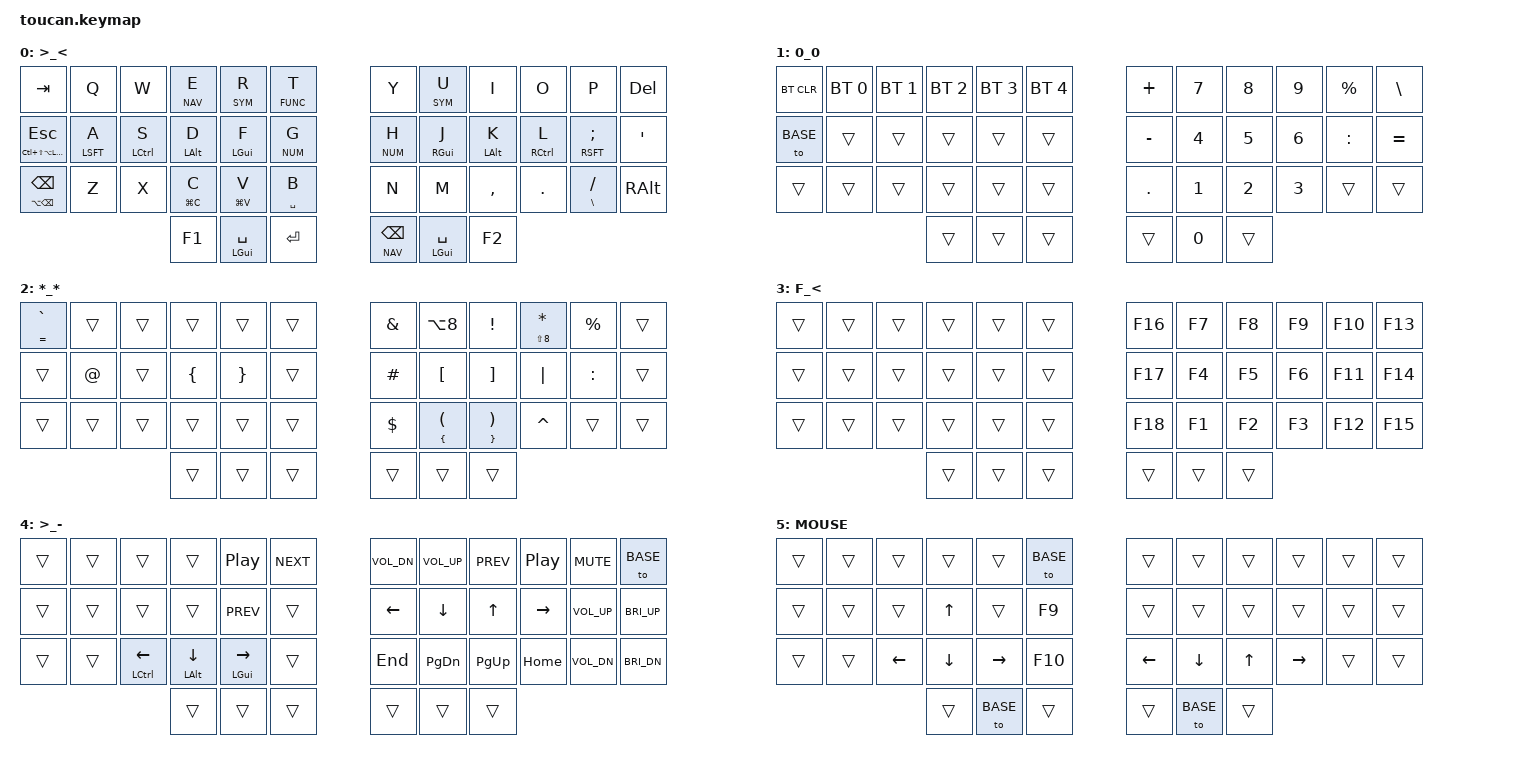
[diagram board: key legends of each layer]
#include <behaviors.dtsi>
#include <dt-bindings/zmk/keys.h>
#include <dt-bindings/zmk/bt.h>
#include <dt-bindings/zmk/outputs.h>

// Layer definitions matching Voyager
#define HYPER LS(LC(LA(LGUI)))
#define BASE 0
#define NUM  1
#define SYM  2
#define FUNC 3
#define NAV  4
#define MOUSE 5

/ {
    // Tap dance definitions (simplified from QMK version)
    behaviors {
        td_e: tap_dance_e {
            compatible = "zmk,behavior-tap-dance";
            #binding-cells = <0>;
            tapping-term-ms = <130>;
            bindings = <&kp E>, <&kp E>, <&mo NAV>;
        };

		hyper_esc: hyper_esc {
            compatible = "zmk,behavior-hold-tap";
            #binding-cells = <2>;
            flavor = "balanced";
            tapping-term-ms = <130>;
            bindings = <&kp>, <&kp>;
        };
        
        td_t: tap_dance_t {
            compatible = "zmk,behavior-tap-dance";
            #binding-cells = <0>;
            tapping-term-ms = <130>;
            bindings = <&kp T>, <&kp T>, <&mo FUNC>;
        };

        td_g: tap_dance_g {
            compatible = "zmk,behavior-tap-dance";
            #binding-cells = <0>;
            tapping-term-ms = <130>;
            bindings = <&kp G>, <&kp G>, <&mo NUM>;
        };

        td_del: tap_dance_del {
            compatible = "zmk,behavior-tap-dance";
            #binding-cells = <0>;
            tapping-term-ms = <130>;
            bindings = <&kp DEL>, <&kp LA(DEL)>, <&kp LG(DEL)>;
        };

        td_space: tap_dance_space {
            compatible = "zmk,behavior-tap-dance";
            #binding-cells = <0>;
            tapping-term-ms = <130>;
            bindings = <&kp SPACE>, <&kp SPACE>, <&to NAV>;
        };

        // Hold-tap behaviors for dual function keys
        ht_bspc_alt_bspc: hold_tap_bspc {
            compatible = "zmk,behavior-hold-tap";
            #binding-cells = <2>;
            tapping-term-ms = <130>;
            quick-tap-ms = <0>;
            flavor = "tap-preferred";
            bindings = <&kp>, <&kp>;
        };

        ht_c_copy: hold_tap_c_copy {
            compatible = "zmk,behavior-hold-tap";
            #binding-cells = <2>;
            tapping-term-ms = <130>;
            quick-tap-ms = <0>;
            flavor = "tap-preferred";
            bindings = <&kp>, <&kp>;
        };

        ht_v_paste: hold_tap_v_paste {
            compatible = "zmk,behavior-hold-tap";
            #binding-cells = <2>;
            tapping-term-ms = <130>;
            quick-tap-ms = <0>;
            flavor = "tap-preferred";
            bindings = <&kp>, <&kp>;
        };

        ht_b_space: hold_tap_b_space {
            compatible = "zmk,behavior-hold-tap";
            #binding-cells = <2>;
            tapping-term-ms = <130>;
            quick-tap-ms = <0>;
            flavor = "tap-preferred";
            bindings = <&kp>, <&kp>;
        };

        ht_h_num: hold_tap_h_num {
            compatible = "zmk,behavior-hold-tap";
            #binding-cells = <2>;
            tapping-term-ms = <130>;
            quick-tap-ms = <0>;
            flavor = "tap-preferred";
            bindings = <&to>, <&kp>;
        };

        ht_slash_bslh: hold_tap_slash {
            compatible = "zmk,behavior-hold-tap";
            #binding-cells = <2>;
            tapping-term-ms = <130>;
            quick-tap-ms = <0>;
            flavor = "tap-preferred";
            bindings = <&kp>, <&kp>;
        };

        // Balanced layer-tap for G key (mo + kp, balanced flavor)
        lt_bal: layer_tap_balanced {
            compatible = "zmk,behavior-hold-tap";
            #binding-cells = <2>;
            tapping-term-ms = <130>;
            quick-tap-ms = <175>;
            flavor = "balanced";
            bindings = <&mo>, <&kp>;
        };

        // Home row mods (matching Voyager)
        hml: homerow_mods_left {
            compatible = "zmk,behavior-hold-tap";
            #binding-cells = <2>;
            tapping-term-ms = <280>;
            quick-tap-ms = <175>;
            require-prior-idle-ms = <100>;
            flavor = "balanced";
            bindings = <&kp>, <&kp>;
            hold-trigger-key-positions = <6 7 8 9 10 11 18 19 20 21 22 23 30 31 32 33 34 35 39 40 41>;
            hold-trigger-on-release;
		};

        hmr: homerow_mods_right {
            compatible = "zmk,behavior-hold-tap";
            #binding-cells = <2>;
            tapping-term-ms = <280>;
            quick-tap-ms = <175>;
            require-prior-idle-ms = <100>;
            flavor = "balanced";
            bindings = <&kp>, <&kp>;
            hold-trigger-key-positions = <0 1 2 3 4 5 12 13 14 15 16 17 24 25 26 27 28 29 36 37 38>;
            hold-trigger-on-release;
		};

        tcsl: thumb_cmd_space_left {
            compatible = "zmk,behavior-hold-tap";
            #binding-cells = <2>;
            tapping-term-ms = <220>;
            quick-tap-ms = <100>;
            require-prior-idle-ms = <50>;
            flavor = "balanced";
            bindings = <&kp>, <&kp>;
        };

		tcsr: thumb_cmd_space_right {
            compatible = "zmk,behavior-hold-tap";
            #binding-cells = <2>;
            tapping-term-ms = <220>;
            quick-tap-ms = <175>;
            require-prior-idle-ms = <175>;
            flavor = "tap-preferred";
            bindings = <&kp>, <&kp>;
        };

	};

    // Combos (matching Voyager)
    combos {
        compatible = "zmk,combos";
        combo_launcher {
            timeout-ms = <50>;
            key-positions = <7 8 9>; // U I O
            bindings = <&kp LA(LG(SPACE))>;
        };
        combo_spotlight_left {
            timeout-ms = <50>;
            key-positions = <14 15 16>; // S D F
            bindings = <&kp LG(SPACE)>;
        };
        combo_spotlight_right {
            timeout-ms = <50>;
            key-positions = <19 20 21>; // J K L
            bindings = <&kp LG(SPACE)>;
        };
        combo_screenshot {
            timeout-ms = <25>;
            key-positions = <8 9>; // I O
            bindings = <&kp LG(LS(N4))>;
        };
        combo_f1 {
            timeout-ms = <25>;
            key-positions = <2 3>; // W E
            bindings = <&kp F1>;
        };
        combo_f2 {
            timeout-ms = <25>;
            key-positions = <3 4>; // E R
            bindings = <&kp F2>;
        };
    };

    // Macros for string sequences
    macros {
        macro_semicolon_1: macro_semicolon_1 {
            compatible = "zmk,behavior-macro";
            #binding-cells = <0>;
            bindings
                = <&macro_tap &kp SEMI>
                , <&macro_wait_time 100>
                , <&macro_tap &kp N1>
                , <&macro_wait_time 100>
                , <&macro_tap &kp SEMI>
                , <&macro_wait_time 100>
                , <&macro_tap &kp SPACE>
                ;
        };

        macro_semicolon_hs: macro_semicolon_hs {
            compatible = "zmk,behavior-macro";
            #binding-cells = <0>;
            bindings
                = <&macro_tap &kp SEMI>
                , <&macro_wait_time 100>
                , <&macro_tap &kp H>
                , <&macro_wait_time 100>
                , <&macro_tap &kp S>
                , <&macro_wait_time 100>
                , <&macro_tap &kp SEMI>
                , <&macro_wait_time 100>
                , <&macro_tap &kp SPACE>
                ;
        };
    };

    keymap {
        compatible = "zmk,keymap";

        // Layer 0: Base (QWERTY with home row mods)
        // TODO: L hyper key; r hyper key; figure out =, `, outer thumb keys

        base {
            display-name = ">_<";
            bindings = <
                &kp TAB                         &kp Q        &kp W        &lt NAV E           &lt SYM R            &lt FUNC T           &kp Y            &lt SYM U         &kp I        &kp O        &kp P                     &kp DEL
                &hyper_esc LC(LS(LA(LGUI))) ESC &hml LSFT A  &hml LCTL S  &hml LALT D         &hml LGUI F          &lt_bal NUM G        &ht_h_num NUM H  &hmr RGUI J       &hmr LALT K  &hmr RCTL L  &hmr RSFT SEMI            &kp APOS
                &ht_bspc_alt_bspc LA(BSPC) BSPC &kp Z        &kp X        &ht_c_copy LG(C) C  &ht_v_paste LG(V) V  &ht_b_space SPACE B  &kp N            &kp M             &kp COMMA    &kp DOT      &ht_slash_bslh BSLH FSLH  &kp RALT
                                                                          &kp F1              &tcsl LGUI SPACE     &kp ENTER            &lt NAV BSPC     &tcsr LGUI SPACE  &kp F2
            >;
        };

        // Layer 1: Numbers/Math (right side)
        numbers {
            display-name = "0_0";
            bindings = <
                &bt BT_CLR  &bt BT_SEL 0    &bt BT_SEL 1 &bt BT_SEL 2 &bt BT_SEL 3 &bt BT_SEL 4    &kp PLUS    &kp N7      &kp N8      &kp N9      &kp PRCNT   &kp BSLH
                &to BASE    &trans          &trans       &trans       &trans       &trans          &kp MINUS   &kp N4      &kp N5      &kp N6      &kp COLON   &kp EQUAL
                &trans      &trans          &trans       &trans       &trans       &trans          &kp DOT     &kp N1      &kp N2      &kp N3      &trans      &trans
                                                         &trans       &trans       &trans          &trans      &kp N0      &trans
            >;
        };

        // Layer 2: Symbols
        // TODO: clean up macros
        symbols {
            display-name = "*_*";
            bindings = <
                &mt EQUAL GRAVE &trans  &trans  &trans    &trans    &trans      &kp AMPS  &kp LA(N8)     &kp EXCL       &mt LS(8) STAR  &kp PRCNT  &trans
                &trans          &kp AT  &trans  &kp LBRC  &kp RBRC  &trans      &kp HASH  &kp LBKT       &kp RBKT       &kp PIPE        &kp COLON  &trans
                &trans          &trans  &trans  &trans    &trans    &trans      &kp DLLR  &mt LBRC LPAR  &mt RBRC RPAR  &kp CARET       &trans     &trans
                                                &trans    &trans    &trans      &trans    &trans         &trans
            >;
        };

        // Layer 3: Function Keys
        function {
            display-name = "F_<";
            bindings = <
                &trans      &trans      &trans      &trans      &trans      &trans          &kp F16     &kp F7      &kp F8      &kp F9      &kp F10     &kp F13
                &trans      &trans      &trans      &trans      &trans      &trans          &kp F17     &kp F4      &kp F5      &kp F6      &kp F11     &kp F14
                &trans      &trans      &trans      &trans      &trans      &trans          &kp F18     &kp F1      &kp F2      &kp F3      &kp F12     &kp F15
                                                    &trans      &trans      &trans          &trans      &trans      &trans
            >;
        };

        // Layer 4: Navigation/Media (skip RGB controls)
        // TODO media player keys; remove wheel keys from Voyager?; wasd arrows?
        navigation {
            display-name = ">_-";
            bindings = <
                &trans      &trans      &trans              &trans              &kp C_PP            &kp C_NEXT      &kp C_VOL_DN    &kp C_VOL_UP    &kp C_PREV      &kp C_PP        &kp C_MUTE      &to BASE
                &trans      &trans      &trans              &trans              &kp C_PREV          &trans          &kp LEFT        &kp DOWN        &kp UP          &kp RIGHT       &kp C_VOL_UP    &kp C_BRI_UP
                &trans      &trans      &hml LCTL LEFT      &hml LALT DOWN      &hml LGUI RIGHT     &trans          &kp END         &kp PG_DN       &kp PG_UP       &kp HOME        &kp C_VOL_DN    &kp C_BRI_DN
                                                            &trans              &trans              &trans          &trans          &trans          &trans
            >;
        };

        // Layer 5: Mouse/Navigation (skip actual mouse keys, keep navigation)
        // TODO anything here really as I don't have a way to activate
        mouse {
            display-name = "MOUSE";
            bindings = <
                &trans      &trans      &trans      &trans      &trans      &to BASE        &trans      &trans      &trans      &trans      &trans      &trans
                &trans      &trans      &trans      &kp UP      &trans      &kp F9          &trans      &trans      &trans      &trans      &trans      &trans
                &trans      &trans      &kp LEFT    &kp DOWN    &kp RIGHT   &kp F10         &kp LEFT    &kp DOWN    &kp UP      &kp RIGHT   &trans      &trans
                                                    &trans      &to BASE    &trans          &trans      &to BASE    &trans
            >;
        };
    };
};
